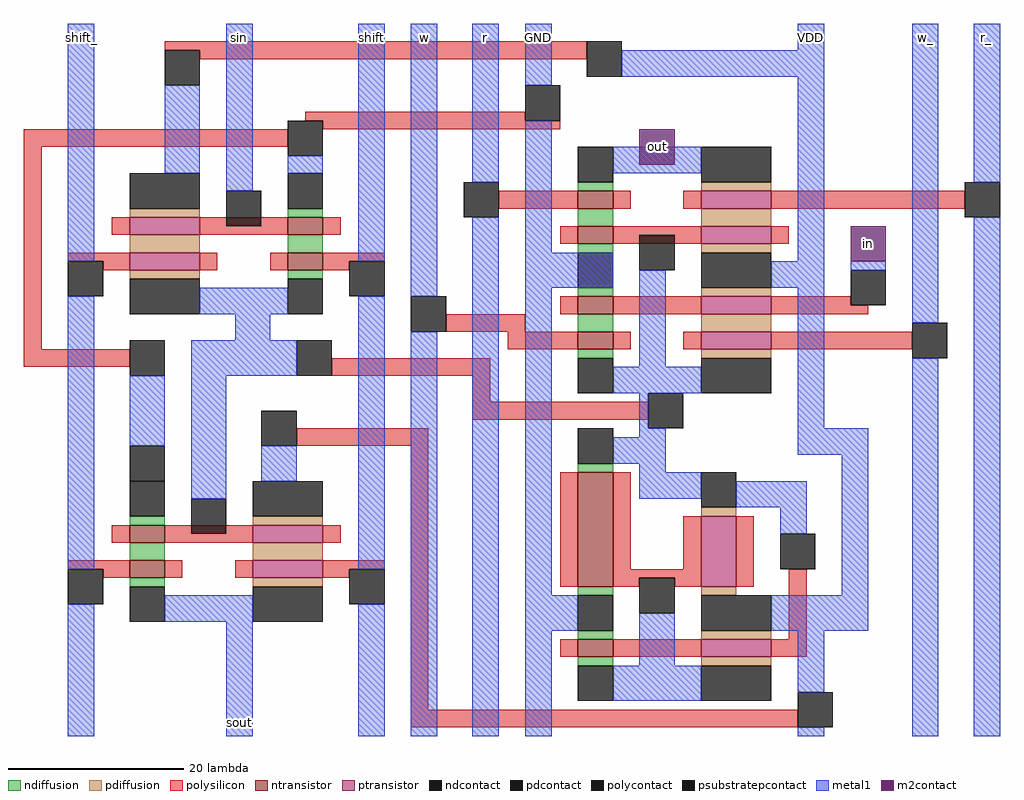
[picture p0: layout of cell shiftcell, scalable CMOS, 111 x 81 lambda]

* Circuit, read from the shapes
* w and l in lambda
.subckt shiftcell GND VDD in out r r_ shift shift_ sin sout w w_
M1 n1 shift_ sout GND nfet w=4 l=2
M2 GND latch_1/in n1 GND nfet w=4 l=2
M3 n2 shift latch_1/in GND nfet w=4 l=2
M4 GND sin n2 GND nfet w=4 l=2
M5 GND latch_1/in staticizer_0/inverter_0/out GND nfet w=4 l=2
M6 latch_1/in staticizer_0/inverter_0/out GND GND nfet w=4 l=13
M7 n3 w latch_1/in GND nfet w=4 l=2
M8 GND in n3 GND nfet w=4 l=2
M9 n4 latch_1/in GND GND nfet w=4 l=2
M10 out r n4 GND nfet w=4 l=2
M11 n5 shift_ latch_1/in NWELL pfet w=8 l=2
M12 VDD sin n5 NWELL pfet w=8 l=2
M13 n6 shift sout NWELL pfet w=8 l=2
M14 VDD latch_1/in n6 NWELL pfet w=8 l=2
M15 VDD latch_1/in staticizer_0/inverter_0/out NWELL pfet w=8 l=2
M16 latch_1/in staticizer_0/inverter_0/out VDD NWELL pfet w=4 l=8
M17 n7 w_ latch_1/in NWELL pfet w=8 l=2
M18 VDD in n7 NWELL pfet w=8 l=2
M19 n8 latch_1/in VDD NWELL pfet w=8 l=2
M20 out r_ n8 NWELL pfet w=8 l=2
.ends

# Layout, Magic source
magic
tech scmos
<< polysilicon >>
rect -45 39 3 40
rect -41 38 3 39
rect -29 31 -4 32
rect -61 28 -31 30
rect -61 5 -59 28
rect -27 30 0 31
rect -7 21 0 23
rect 26 21 46 23
rect -56 15 -51 16
rect -52 14 -51 15
rect -25 15 -20 16
rect -25 14 -24 15
rect 26 10 33 11
rect 26 9 35 10
rect -13 7 -4 9
rect -61 3 -49 5
rect -6 5 0 7
rect 26 5 40 7
rect -26 2 -8 4
rect -10 -1 -8 2
rect -10 -3 10 -1
rect -30 -6 -15 -4
rect -56 -20 -51 -19
rect -52 -21 -51 -20
rect -25 -20 -20 -19
rect -25 -21 -24 -20
rect -17 -36 -15 -6
rect -17 -38 27 -36
<< metal1 >>
rect -56 15 -53 42
rect -45 25 -41 35
rect -38 23 -35 42
rect -31 25 -27 27
rect -23 15 -20 42
rect -56 -20 -53 11
rect -37 6 -33 10
rect -49 -6 -45 2
rect -42 2 -30 6
rect -42 -12 -38 2
rect -34 -10 -30 -6
rect -23 -20 -20 11
rect -56 -39 -53 -24
rect -38 -39 -35 -26
rect -23 -39 -20 -24
rect -17 11 -14 42
rect -10 24 -7 42
rect -17 -39 -14 7
rect -10 -39 -7 20
rect -4 35 -1 42
rect 27 39 30 42
rect 7 36 30 39
rect -4 16 -1 31
rect -4 12 6 16
rect 27 15 30 36
rect -4 -23 -1 12
rect 9 0 12 14
rect 24 12 30 15
rect 9 -4 10 0
rect 27 -4 30 12
rect 33 14 37 15
rect 40 8 43 42
rect 47 24 50 42
rect 9 -8 12 -4
rect 27 -7 35 -4
rect 32 -23 35 -7
rect -4 -27 2 -23
rect 27 -27 35 -23
rect -4 -39 -1 -27
rect 27 -34 30 -27
rect 27 -39 30 -38
rect 40 -39 43 4
rect 47 -39 50 20
<< polycontact >>
rect -45 35 -41 39
rect 3 36 7 40
rect -4 31 0 35
rect -31 27 -27 31
rect -38 19 -34 23
rect -11 20 -7 24
rect 46 20 50 24
rect -56 11 -52 15
rect -24 11 -20 15
rect 9 14 13 18
rect -17 7 -13 11
rect 33 10 37 14
rect -49 2 -45 6
rect -30 2 -26 6
rect 40 4 44 8
rect -34 -6 -30 -2
rect 10 -4 14 0
rect -42 -16 -38 -12
rect -56 -24 -52 -20
rect -24 -24 -20 -20
rect 27 -38 31 -34
<< m2contact >>
rect 9 26 13 30
rect 33 15 37 19
<< psubstratepcontact >>
rect -49 -10 -45 -6
use latch  latch_2
transform 0 -1 -27 -1 0 19
box -6 -2 10 24
use latch  latch_1
transform 0 1 2 1 0 18
box -6 -2 10 24
use latch  latch_0
transform 0 1 2 -1 0 10
box -6 -2 10 24
use latch  latch_3
transform 0 1 -49 -1 0 -16
box -6 -2 10 24
use staticizer  staticizer_0
transform 0 1 -2 -1 0 -23
box -19 2 12 32
<< labels >>
rlabel m2contact 33 15 37 19 1 in
rlabel m2contact 9 26 13 30 5 out
rlabel metal1 -38 -39 -35 -36 1 sout
rlabel metal1 -38 39 -35 42 5 sin
rlabel metal1 -56 39 -53 42 5 shift_
rlabel metal1 -23 39 -20 42 5 shift
rlabel metal1 -17 39 -14 42 5 w
rlabel metal1 -10 39 -7 42 5 r
rlabel metal1 -4 39 -1 42 5 GND
rlabel metal1 27 39 30 42 5 VDD
rlabel metal1 40 39 43 42 5 w_
rlabel metal1 47 39 50 42 6 r_
<< end >>

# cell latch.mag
magic
tech scmos
<< polysilicon >>
rect -1 22 1 24
rect 3 22 5 24
rect -1 4 1 14
rect 3 12 5 14
rect 3 4 5 6
rect -1 -2 1 0
rect 3 -2 5 0
<< ndiffusion >>
rect -2 0 -1 4
rect 1 0 3 4
rect 5 0 6 4
<< pdiffusion >>
rect -2 14 -1 22
rect 1 14 3 22
rect 5 14 6 22
<< metal1 >>
rect 7 4 10 14
<< ntransistor >>
rect -1 0 1 4
rect 3 0 5 4
<< ptransistor >>
rect -1 14 1 22
rect 3 14 5 22
<< ndcontact >>
rect -6 0 -2 4
rect 6 0 10 4
<< pdcontact >>
rect -6 14 -2 22
rect 6 14 10 22
<< labels >>
rlabel polysilicon 3 22 5 24 5 latch_
rlabel polysilicon 3 -2 5 0 1 latch
rlabel pdcontact -6 14 -2 22 3 Vdd
rlabel ndcontact -6 0 -2 4 2 GND
rlabel polysilicon -1 8 1 10 1 in
rlabel metal1 7 8 10 10 7 out
<< end >>

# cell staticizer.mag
magic
tech scmos
<< polysilicon >>
rect -3 28 7 30
rect -9 22 -1 24
rect -9 16 -1 18
rect -3 15 -1 16
rect -3 11 -2 15
rect -3 10 -1 11
rect -14 8 -1 10
rect -14 2 -1 4
<< ndiffusion >>
rect -15 4 -14 8
rect -1 4 0 8
<< pdiffusion >>
rect -10 18 -9 22
rect -1 18 0 22
<< metal1 >>
rect -13 27 -7 30
rect -13 22 -10 27
rect 0 26 4 32
rect -14 14 -11 18
rect -18 11 -11 14
rect 2 11 12 15
rect -18 8 -15 11
<< ntransistor >>
rect -14 4 -1 8
<< ptransistor >>
rect -9 18 -1 22
<< polycontact >>
rect -7 27 -3 31
rect -2 11 2 15
<< ndcontact >>
rect -19 4 -15 8
rect 0 4 4 8
<< pdcontact >>
rect -14 18 -10 22
rect 0 18 4 26
use inverter  inverter_0
transform 1 0 5 0 1 -3
box -5 5 7 31
<< labels >>
rlabel metal1 0 28 4 32 5 Vdd
rlabel ndcontact 0 4 4 8 1 GND
rlabel polycontact -7 27 -3 31 5 in
<< end >>

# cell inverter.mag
magic
tech scmos
<< polysilicon >>
rect 0 29 2 31
rect 0 11 2 21
rect 0 5 2 7
<< ndiffusion >>
rect -1 7 0 11
rect 2 7 3 11
<< pdiffusion >>
rect -1 21 0 29
rect 2 21 3 29
<< metal1 >>
rect 3 11 7 21
<< ntransistor >>
rect 0 7 2 11
<< ptransistor >>
rect 0 21 2 29
<< ndcontact >>
rect -5 7 -1 11
rect 3 7 7 11
<< pdcontact >>
rect -5 21 -1 29
rect 3 21 7 29
<< labels >>
rlabel metal1 5 16 5 16 7 out
<< end >>
